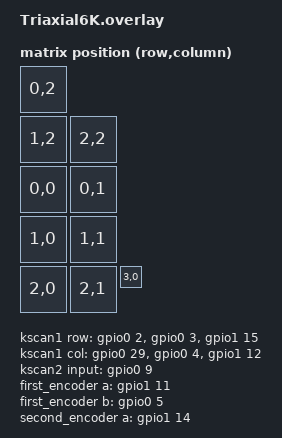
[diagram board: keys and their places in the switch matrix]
#include <dt-bindings/zmk/matrix_transform.h> // Put this with the other includes at the top of your overlay
#include <physical_layouts.dtsi>

&xiao_serial { status = "disabled"; };

/ {
    chosen {
        zmk,physical-layout = &physical_layout0;
        // Other chosen items
    };


    physical_layout0: physical_layout_0 { // First physical layout, use different naming for other layouts
        compatible = "zmk,physical-layout";
        display-name = "Default Layout";
        kscan = <&kscan0>; // Label of the kscan node, optional if all layouts use the same
        transform = <&default_transform>; // Label of the matrix transform for this layout
        keys  //                     w   h    x    y     rot    rx    ry
            = <&key_physical_attrs 100 100    0  200       0     0     0>
            , <&key_physical_attrs 100 100  100  200       0     0     0>
            , <&key_physical_attrs 100 100    0    0       0     0     0>

            , <&key_physical_attrs 100 100    0  300       0     0     0>
            , <&key_physical_attrs 100 100  100  300       0     0     0>
            , <&key_physical_attrs 100 100    0  100       0     0     0>

            , <&key_physical_attrs 100 100    0  400       0     0     0>
            , <&key_physical_attrs 100 100  100  400       0     0     0>
            , <&key_physical_attrs 100 100  100  100       0     0     0>

            , <&key_physical_attrs  50  50  200  400       0     0     0>
            ;
    };

    default_transform: keymap_transform0 {
        compatible = "zmk,matrix-transform";
        columns = <3>; // Length of the "col-gpios" array
        rows = <3>; // Length of the "row-gpios" array
        map = <
        //   Key 1 | Key 2 | Key 3
            RC(0,0) RC(0,1) RC(0,2)
        //   Key 4 | Key 5 | Key 6
            RC(1,0) RC(1,1) RC(1,2)
        //   Key 7 | Key 8 | Key 9
            RC(2,0) RC(2,1) RC(2,2)

            RC(3,0)
        >;
    };


    kscan0: kscan_composite {
        compatible = "zmk,kscan-composite";
        rows = <4>;
        columns = <3>;

        // Include the matrix driver
        matrix {
            kscan = <&kscan1>;
        };

        // Include the direct GPIO driver...
        direct {
            kscan = <&kscan2>;
            row-offset = <3>; // ...and shift it to not overlap
        };
    };

    kscan1: kscan_matrix  {
        compatible = "zmk,kscan-gpio-matrix";
        diode-direction = "col2row";
        wakeup-source;

        col-gpios
            = <&gpio0 29 GPIO_ACTIVE_HIGH>
            , <&gpio0  4 GPIO_ACTIVE_HIGH>
            , <&gpio1 12 GPIO_ACTIVE_HIGH>
            ;

        row-gpios
            = <&gpio0  2 (GPIO_ACTIVE_HIGH | GPIO_PULL_DOWN)>
            , <&gpio0  3 (GPIO_ACTIVE_HIGH | GPIO_PULL_DOWN)>
            , <&gpio1 15 (GPIO_ACTIVE_HIGH | GPIO_PULL_DOWN)>
            ;
    };

    kscan2: kscan_layersw {
        compatible = "zmk,kscan-gpio-direct";
        input-gpios =
            <&gpio0 9 (GPIO_ACTIVE_HIGH)>
        ;
    };

    first_encoder: encoder_first {
        compatible = "alps,ec11";
        a-gpios = <&gpio1 11 (GPIO_ACTIVE_HIGH | GPIO_PULL_UP)>;
        b-gpios = <&gpio0  5 (GPIO_ACTIVE_HIGH | GPIO_PULL_UP)>;
        steps = <24>;
        status = "okay";
    };

    second_encoder: encoder_second {
        compatible = "alps,ec11";
        a-gpios = <&gpio1 14 (GPIO_ACTIVE_HIGH | GPIO_PULL_UP)>;
        b-gpios = <&gpio1 13 (GPIO_ACTIVE_HIGH | GPIO_PULL_UP)>;
        steps = <24>;
        status = "okay";
    };

    third_encoder: encoder_third {
        compatible = "alps,ec11";
        a-gpios = <&gpio1 3 (GPIO_ACTIVE_HIGH | GPIO_PULL_UP)>;
        b-gpios = <&gpio1 5 (GPIO_ACTIVE_HIGH | GPIO_PULL_UP)>;
        steps = <24>;
        status = "okay";
    };

    sensors: sensors {
        compatible = "zmk,keymap-sensors";
        sensors = <&first_encoder &second_encoder &third_encoder>;
        // encoder_first {
        //     triggers-per-rotation = <6>;
        // };
        // encoder_second {
        //     triggers-per-rotation = <12>;
        // };
        // encoder_third {
        //     triggers-per-rotation = <12>;
        // };
        triggers-per-rotation = <12>;
    };

};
